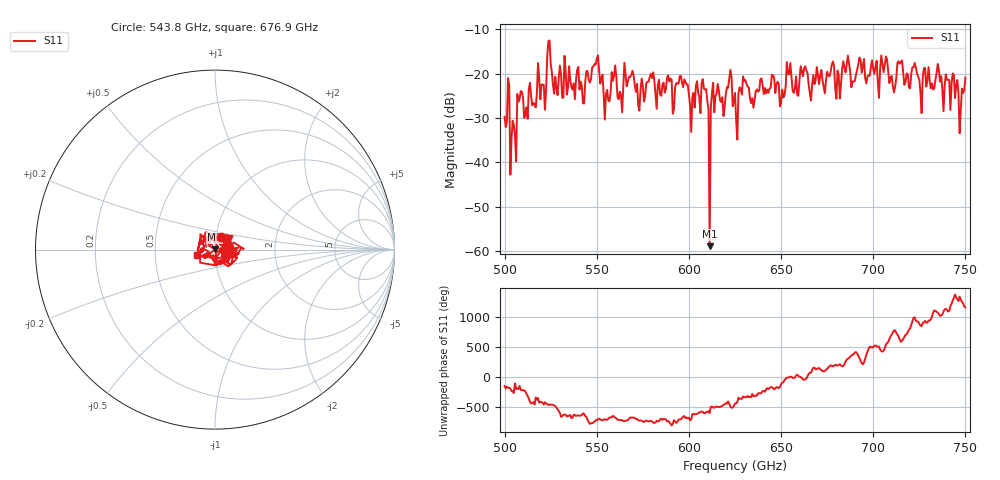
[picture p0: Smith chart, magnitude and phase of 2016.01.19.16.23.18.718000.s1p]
!Created with skrf (http://scikit-rf.org).
# GHz S RI R 50.0
!freq ReS11 ImS11
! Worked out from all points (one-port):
!   401 points, 500 GHz to 750 GHz, reference 50 ohm
!   lowest |S11| = -58.9 dB at 611.2 GHz (marker M1), VSWR 1.00, Z = 50 + j0.103 ohm
!   |S11| at or under -10 dB: start of sweep to end of sweep
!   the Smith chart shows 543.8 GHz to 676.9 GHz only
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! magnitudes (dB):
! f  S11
! 500 GHz  -29.7
! 504.4 GHz  -30.6
! 508.1 GHz  -25.8
! 520.6 GHz  -22.4
! 524.4 GHz  -12.5
! 527.5 GHz  -20.7
! 531.2 GHz  -25.5
! 541.9 GHz  -22.7
! 549.4 GHz  -18.0
! 555 GHz  -24.6
! 559.4 GHz  -20.4
! 562.5 GHz  -24.1
! 566.2 GHz  -22.9
! 593.8 GHz  -22.2
! 601.9 GHz  -25.3
! 608.1 GHz  -23.4
! 611.2 GHz  -58.9
! 613.1 GHz  -22.1
! 621.9 GHz  -21.1
! 625 GHz  -24.4
! 630.6 GHz  -21.5
! 634.4 GHz  -25.6
! 656.2 GHz  -23.8
! 687.5 GHz  -19.6
! 718.8 GHz  -20.2
! 735.6 GHz  -19.2
! 747.5 GHz  -28.1
! 750 GHz  -20.9
